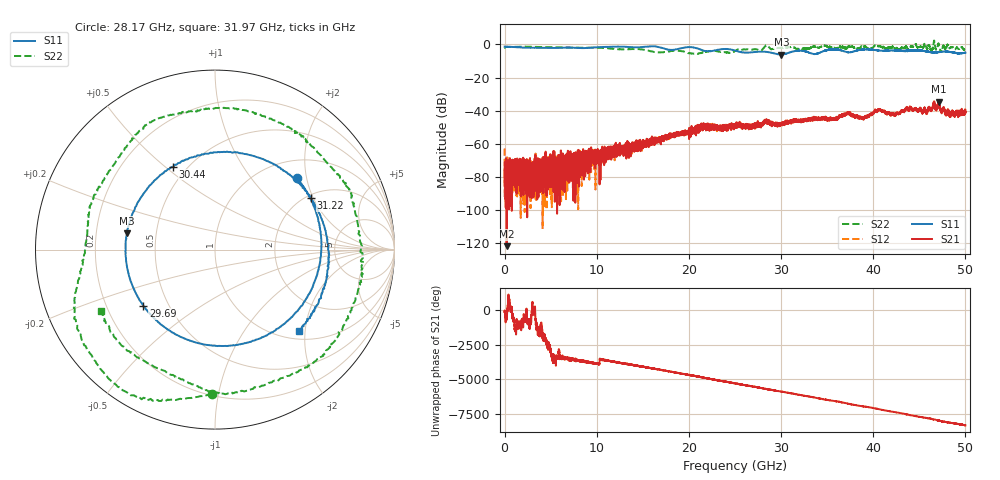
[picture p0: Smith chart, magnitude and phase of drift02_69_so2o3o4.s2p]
!Created with skrf (http://scikit-rf.org).
# Hz S RI R 50.0
!freq ReS11 ImS11 ReS21 ImS21 ReS12 ImS12 ReS22 ImS22
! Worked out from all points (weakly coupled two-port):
!   10001 points, 300 kHz to 50 GHz, reference 50 ohm
!   highest |S21| = -34.49 dB at 47.1 GHz (marker M1); lowest = -121.6 dB at 225.3 MHz (marker M2)
!   lowest |S11| = -6.1 dB at 30.05 GHz (marker M3), VSWR 2.98, Z = 16.9 + j4.09 ohm
!   |S11| at or under -10 dB: nowhere
!   |S22| runs from -5.7 to 2.4 dB; largest |S21 - S12| = 0.0032
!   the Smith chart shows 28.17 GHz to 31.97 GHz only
!   S11 on the Smith chart (normalised r, x): 28.17 GHz: 1.38, +1.75; 29.69 GHz: 0.36, -0.31; 30.44 GHz: 0.42, +0.53; 31.22 GHz: 2.11, +1.92; 31.97 GHz: 1.17, -1.85
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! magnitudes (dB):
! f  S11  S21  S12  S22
! 300 kHz  -1.3  -71.3  -62.7  -2.1
! 225.3 MHz  -1.4  -121.6  -77.3  -1.4
! 4.655 GHz  -2.1  -69.0  -75.7  -1.6
! 8.335 GHz  -2.2  -66.7  -65.8  -1.9
! 16.67 GHz  -1.4  -56.7  -57.8  -4.7
! 21.56 GHz  -3.7  -49.4  -48.8  -4.7
! 25 GHz  -3.7  -48.5  -48.6  -3.9
! 28.17 GHz  -4.3  -45.8  -47.0  -1.9
! 29.69 GHz  -5.9  -48.0  -48.0  -2.1
! 30.05 GHz  -6.1  -47.7  -47.8  -2.0
! 30.44 GHz  -5.7  -46.7  -47.5  -1.9
! 31.22 GHz  -4.3  -46.7  -46.6  -1.8
! 31.97 GHz  -3.7  -46.1  -45.6  -2.8
! 33.34 GHz  -5.5  -44.6  -44.5  -1.5
! 35.59 GHz  -3.0  -45.0  -44.9  -1.6
! 37.26 GHz  -4.7  -41.2  -41.3  -1.5
! 38.87 GHz  -3.1  -44.2  -43.9  -1.4
! 40.65 GHz  -3.7  -39.4  -39.4  -1.0
! 41.67 GHz  -3.6  -41.3  -40.8  -1.9
! 47.1 GHz  -4.5  -34.5  -35.1  0.5
! 48.51 GHz  -4.6  -40.1  -40.7  -1.6
! 50 GHz  -4.9  -40.2  -40.1  -2.7
